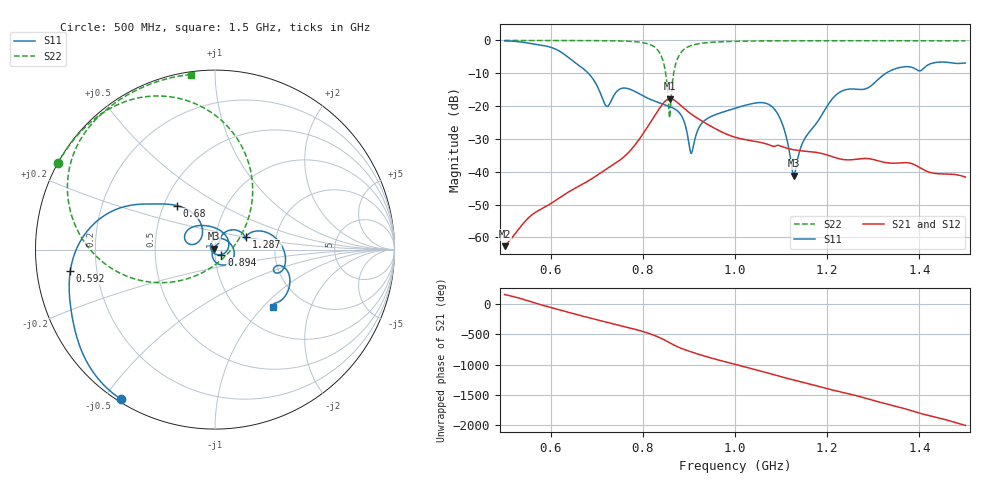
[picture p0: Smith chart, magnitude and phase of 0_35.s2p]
! TOUCHSTONE file generated by CST MICROWAVE STUDIO
! Date and time: Sat Oct 24 11:16:55 2020
! Project name: Scenario_1_Circular_Tissue_in_Line.cst
! Parameters = {L_HA=400; MT=2.54; Rad_Dielectric=30; Rad_Lower=7.3; Rad_Upper=30; a_HA=580; a_WG=246; b_HA=500; b_WG=121; c_HA=0; c_WG=187; d_feed=85; dx1=761.88; h_feed=15; h_lower=18; h_upper=40}
! Header version: 2018
! Port assignment regex: !\s*Touchstone port\s*([0-9]+)\s*=\s*(CST MWS port|CST DS port)\s*([0-9]+|Zmin|Zmax)\s*\(\"(.*)\"\)(\s*mode\s*([0-9]+))?.*
! Touchstone port assignment:
! Touchstone port 1 = CST MWS port 1 ("")
! Touchstone port 2 = CST MWS port 2 ("")
# GHz S DB R 50
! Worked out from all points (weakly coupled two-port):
!   1003 points, 500 MHz to 1.5 GHz, reference 50 ohm
!   highest |S21| = -17.77 dB at 859 MHz (marker M1); lowest = -62.7 dB at 500 MHz (marker M2)
!   lowest |S11| = -41.2 dB at 1.128 GHz (marker M3), VSWR 1.02, Z = 49.3 + j0.483 ohm
!   |S11| at or under -10 dB: 681.7 MHz to 1.328 GHz (645.9 MHz wide, 64.3 % of centre)
!   |S22| runs from -23.6 to 0.0 dB; largest |S21 - S12| = 0.0014
!   S11 on the Smith chart (normalised r, x): 500 MHz: 0.01, -0.55; 592 MHz: 0.10, -0.07; 680 MHz: 0.58, +0.32; 894 MHz: 1.07, -0.06; 1.287 GHz: 1.40, +0.21; 1.5 GHz: 1.41, -1.14
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0.5  -0.14 -122.3  -62.68 155.8  -62.68 155.8  -0.01 151.1
0.592  -1.77 -171.6  -50.39 -41.0  -50.39 -41.0  -0.02 144.7
0.667  -8.20 139.2  -43.98 165.0  -43.98 164.9  -0.04 138.3
0.68  -9.75 131.0  -42.93 139.5  -42.93 139.5  -0.05 137.0
0.721  -20.04 142.0  -39.20 59.0  -39.20 59.0  -0.09 132.2
0.758  -14.50 150.9  -35.58 -10.8  -35.58 -10.8  -0.19 125.9
0.834  -18.91 79.0  -21.14 173.9  -21.14 173.9  -3.24 84.1
0.848  -19.61 64.4  -18.57 122.6  -18.57 122.6  -8.72 55.2
0.859  -20.19 51.1  -17.77 77.0  -17.77 77.0  -22.56 -77.0
0.873  -21.22 28.3  -18.68 22.6  -18.68 22.6  -6.40 -160.2
0.894  -26.86 -38.1  -21.24 -41.6  -21.24 -41.6  -2.26 172.3
0.906  -34.27 -154.7  -22.53 -72.7  -22.52 -72.7  -1.51 164.2
0.932  -24.64 86.6  -24.86 -134.4  -24.85 -134.4  -0.78 153.7
1  -20.68 19.5  -29.48 85.6  -29.45 86.1  -0.27 140.2
1.084  -20.69 -68.1  -32.27 -84.7  -31.94 -82.3  -0.14 131.1
1.106  -26.76 -106.3  -32.54 -131.4  -32.53 -131.3  -0.12 129.2
1.128  -41.17 145.9  -33.32 -173.8  -33.33 -173.8  -0.11 127.3
1.167  -26.95 60.7  -33.93 111.2  -33.94 111.2  -0.10 124.2
1.224  -16.08 44.2  -35.97 -0.5  -35.97 -0.6  -0.08 119.8
1.287  -14.55 22.6  -35.97 -121.3  -35.97 -121.3  -0.09 115.0
1.334  -9.47 12.5  -37.34 143.6  -37.34 143.6  -0.08 111.4
1.5  -6.88 -44.7  -41.64 157.8  -41.63 157.8  -0.13 97.9
